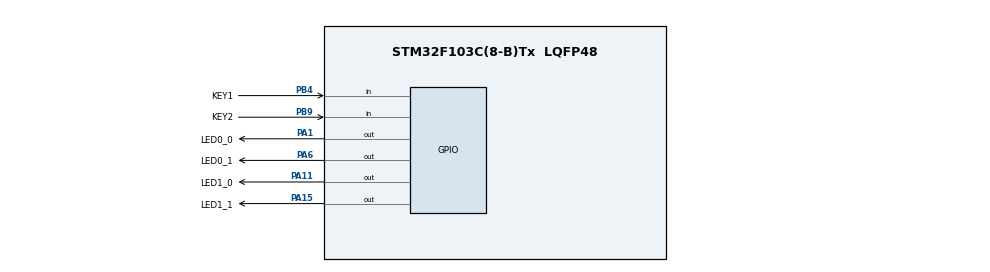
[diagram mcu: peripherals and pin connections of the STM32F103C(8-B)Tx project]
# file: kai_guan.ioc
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Mcu.Family=STM32F1
Mcu.Name=STM32F103C(8-B)Tx
Mcu.Package=LQFP48
NVIC.PriorityGroup=NVIC_PRIORITYGROUP_4
PA1.GPIO_Label=LED0_0
PA1.Signal=GPIO_Output
PA11.GPIO_Label=LED1_0
PA11.Signal=GPIO_Output
PA15.GPIO_Label=LED1_1
PA15.Signal=GPIO_Output
PA6.GPIO_Label=LED0_1
PA6.Signal=GPIO_Output
PB4.GPIO_Label=KEY1
PB4.GPIO_PuPd=GPIO_PULLUP
PB4.Signal=GPIO_Input
PB9.GPIO_Label=KEY2
PB9.GPIO_PuPd=GPIO_PULLUP
PB9.Signal=GPIO_Input
PD0-OSC_IN.Mode=HSE-External-Oscillator
PD0-OSC_IN.Signal=RCC_OSC_IN
PD1-OSC_OUT.Mode=HSE-External-Oscillator
PD1-OSC_OUT.Signal=RCC_OSC_OUT
ProjectManager.HeapSize=0x200
ProjectManager.StackSize=0x400
ProjectManager.TargetToolchain=MDK-ARM V5
RCC.APB1Freq_Value=8000000
RCC.APB2Freq_Value=8000000
VP_SYS_VS_ND.Mode=No_Debug
board=custom

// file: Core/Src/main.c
/* USER CODE BEGIN Header */
/**
  ******************************************************************************
  * @file           : main.c
  * @brief          : Main program body
  ******************************************************************************
  * @attention
  *
  * Copyright (c) 2023 STMicroelectronics.
  * All rights reserved.
  *
  * This software is licensed under terms that can be found in the LICENSE file
  * in the root directory of this software component.
  * If no LICENSE file comes with this software, it is provided AS-IS.
  *
  ******************************************************************************
  */
/* USER CODE END Header */
#include "main.h"
#include "gpio.h"

void SystemClock_Config(void);

int main(void)
{

  /* MCU Configuration--------------------------------------------------------*/

  /* Reset of all peripherals, Initializes the Flash interface and the Systick. */
  HAL_Init();

  /* Configure the system clock */
  SystemClock_Config();

  /* Initialize all configured peripherals */
  MX_GPIO_Init();

  /* Infinite loop */
  while (1)
  {

    /* USER CODE BEGIN 3 */
		HAL_GPIO_WritePin(LED1_1_GPIO_Port, LED1_1_Pin, GPIO_PIN_RESET);
		HAL_GPIO_WritePin(LED1_0_GPIO_Port, LED1_0_Pin, GPIO_PIN_RESET);
		HAL_GPIO_WritePin(LED0_1_GPIO_Port, LED0_1_Pin, GPIO_PIN_RESET);
		HAL_GPIO_WritePin(LED0_0_GPIO_Port, LED0_0_Pin, GPIO_PIN_RESET);
		if(HAL_GPIO_ReadPin(KEY1_GPIO_Port, KEY1_Pin) == GPIO_PIN_SET && HAL_GPIO_ReadPin(KEY2_GPIO_Port, KEY2_Pin) == GPIO_PIN_SET){
			while(HAL_GPIO_ReadPin(KEY1_GPIO_Port, KEY1_Pin) == GPIO_PIN_SET && HAL_GPIO_ReadPin(KEY2_GPIO_Port, KEY2_Pin) == GPIO_PIN_SET){
				HAL_GPIO_WritePin(LED0_0_GPIO_Port, LED0_0_Pin, GPIO_PIN_SET);
			}
		}else if(HAL_GPIO_ReadPin(KEY1_GPIO_Port, KEY1_Pin) == GPIO_PIN_SET && HAL_GPIO_ReadPin(KEY2_GPIO_Port, KEY2_Pin) == GPIO_PIN_RESET){
			while(HAL_GPIO_ReadPin(KEY1_GPIO_Port, KEY1_Pin) == GPIO_PIN_SET && HAL_GPIO_ReadPin(KEY2_GPIO_Port, KEY2_Pin) == GPIO_PIN_RESET){
				HAL_GPIO_WritePin(LED0_1_GPIO_Port, LED0_1_Pin, GPIO_PIN_SET);
			}
		}else if(HAL_GPIO_ReadPin(KEY1_GPIO_Port, KEY1_Pin) == GPIO_PIN_RESET && HAL_GPIO_ReadPin(KEY2_GPIO_Port, KEY2_Pin) == GPIO_PIN_SET){
			while(HAL_GPIO_ReadPin(KEY1_GPIO_Port, KEY1_Pin) == GPIO_PIN_RESET && HAL_GPIO_ReadPin(KEY2_GPIO_Port, KEY2_Pin) == GPIO_PIN_SET){
				HAL_GPIO_WritePin(LED1_0_GPIO_Port, LED1_0_Pin, GPIO_PIN_SET);
			}
		}else if(HAL_GPIO_ReadPin(KEY1_GPIO_Port, KEY1_Pin) == GPIO_PIN_RESET && HAL_GPIO_ReadPin(KEY2_GPIO_Port, KEY2_Pin) == GPIO_PIN_RESET){
			while(HAL_GPIO_ReadPin(KEY1_GPIO_Port, KEY1_Pin) == GPIO_PIN_RESET && HAL_GPIO_ReadPin(KEY2_GPIO_Port, KEY2_Pin) == GPIO_PIN_RESET){
				HAL_GPIO_WritePin(LED1_1_GPIO_Port, LED1_1_Pin, GPIO_PIN_SET);
			}
		}
  }
  /* USER CODE END 3 */
}

void SystemClock_Config(void)
{
  RCC_OscInitTypeDef RCC_OscInitStruct = {0};
  RCC_ClkInitTypeDef RCC_ClkInitStruct = {0};

  /** Initializes the RCC Oscillators according to the specified parameters
  * in the RCC_OscInitTypeDef structure.
  */
  RCC_OscInitStruct.OscillatorType = RCC_OSCILLATORTYPE_HSI;
  RCC_OscInitStruct.HSIState = RCC_HSI_ON;
  RCC_OscInitStruct.HSICalibrationValue = RCC_HSICALIBRATION_DEFAULT;
  RCC_OscInitStruct.PLL.PLLState = RCC_PLL_NONE;
  if (HAL_RCC_OscConfig(&RCC_OscInitStruct) != HAL_OK)
  {
    Error_Handler();
  }

  /** Initializes the CPU, AHB and APB buses clocks
  */
  RCC_ClkInitStruct.ClockType = RCC_CLOCKTYPE_HCLK|RCC_CLOCKTYPE_SYSCLK
                              |RCC_CLOCKTYPE_PCLK1|RCC_CLOCKTYPE_PCLK2;
  RCC_ClkInitStruct.SYSCLKSource = RCC_SYSCLKSOURCE_HSI;
  RCC_ClkInitStruct.AHBCLKDivider = RCC_SYSCLK_DIV1;
  RCC_ClkInitStruct.APB1CLKDivider = RCC_HCLK_DIV1;
  RCC_ClkInitStruct.APB2CLKDivider = RCC_HCLK_DIV1;

  if (HAL_RCC_ClockConfig(&RCC_ClkInitStruct, FLASH_LATENCY_0) != HAL_OK)
  {
    Error_Handler();
  }
}

void Error_Handler(void)
{
  __disable_irq();
  while (1)
  {
  }
}
